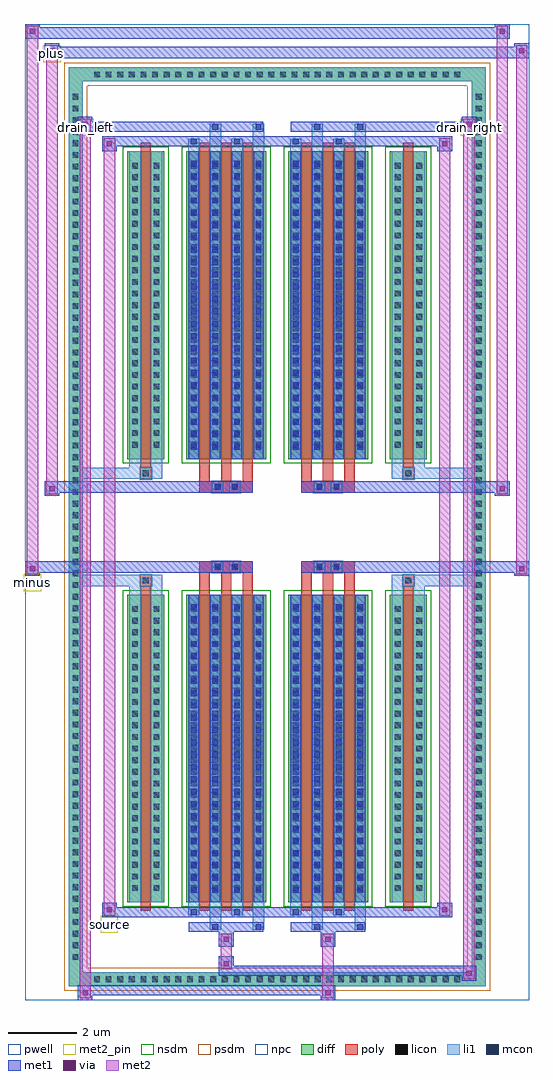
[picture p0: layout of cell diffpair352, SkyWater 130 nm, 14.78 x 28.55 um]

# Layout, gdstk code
import gdstk
lib = gdstk.Library(unit=1e-6, precision=5e-09)
def R(c, l, rs):  # rectangles x0, y0, x1, y1
    for r in rs: c.add(gdstk.rectangle(r[:2], r[2:], *l))
def A(c, l, x, y, w, h, nx, ny, dx, dy):  # array of equal rectangles
    R(c, l, [(x+i*dx, y+j*dy, x+i*dx+w, y+j*dy+h) for i in range(nx) for j in range(ny)])
def P(c, l, *ps):  # polygons
    for p in ps: c.add(gdstk.Polygon(p, *l))
pwell = (64, 44)
diff = (65, 20)
poly = (66, 20)
licon = (66, 44)
li1 = (67, 20)
mcon = (67, 44)
met1 = (68, 20)
via = (68, 44)
met2_pin = (69, 16)
met2 = (69, 20)
nsdm = (93, 44)
psdm = (94, 20)
npc = (95, 20)

diffpair352 = lib.new_cell('diffpair352')
R(diffpair352, pwell, [(-7.37,-13.84,7.37,14.71), (-4.69,-12.03,-0.01,-0.805), (0.01,-12.03,4.69,-0.805), (-4.69,0.805,-0.01,12.03), (0.01,0.805,4.69,12.03)])
A(diffpair352, diff, -5.475, -13.44, 0.41, 0.41, 32, 2, 0.34, 26.47)
A(diffpair352, diff, -6.1, -12.785, 0.41, 0.41, 1, 75, 0, 0.34)
A(diffpair352, diff, 5.69, -12.785, 0.41, 0.41, 1, 75, 0, 0.34)
R(diffpair352, diff, [(-5.475,-13.44,5.475,-13.03), (-6.1,-12.785,-5.69,12.785), (5.69,-12.785,6.1,12.785), (-4.38,-10.985,-3.3,-1.985), (-2.66,-10.985,-0.32,-1.985), (0.32,-10.985,2.66,-1.985), (3.3,-10.985,4.38,-1.985), (-4.38,1.985,-3.3,10.985), (-2.66,1.985,-0.32,10.985), (0.32,1.985,2.66,10.985), (3.3,1.985,4.38,10.985), (-5.475,13.03,5.475,13.44)])
P(diffpair352, diff, [(6.1,13.44),(-6.1,13.44),(-6.1,-13.03),(-5.69,-13.03),(-5.69,13.03),(5.69,13.03),(5.69,-13.03),(-5.69,-13.03),(-6.1,-13.03),(-6.1,-13.44),(6.1,-13.44)])
A(diffpair352, poly, -2.27, -11.235, 0.3, 9.5, 3, 2, 0.63, 12.97)
A(diffpair352, poly, 0.71, -11.235, 0.3, 9.5, 3, 2, 0.63, 12.97)
A(diffpair352, poly, -2.27, -1.735, 0.3, 0.4, 3, 2, 0.63, 3.07)
A(diffpair352, poly, 0.71, -1.735, 0.3, 0.4, 3, 2, 0.63, 3.07)
R(diffpair352, poly, [(-3.99,-11.235,-3.69,-1.735), (3.69,-11.235,3.99,-1.735), (-4.005,-1.735,-3.675,-1.405), (-4.005,-1.735,-3.675,-1.405), (3.675,-1.735,4.005,-1.405), (3.675,-1.735,4.005,-1.405), (-2.27,-1.335,-0.71,-1.005), (-1.905,-1.335,-1.575,-1.005), (-1.405,-1.335,-1.075,-1.005), (0.71,-1.335,2.27,-1.005), (1.075,-1.335,1.405,-1.005), (1.575,-1.335,1.905,-1.005), (-2.27,1.005,-0.71,1.335), (-1.905,1.005,-1.575,1.335), (-1.405,1.005,-1.075,1.335), (0.71,1.005,2.27,1.335), (1.075,1.005,1.405,1.335), (1.575,1.005,1.905,1.335), (-4.005,1.405,-3.675,1.735), (-4.005,1.405,-3.675,1.735), (3.675,1.405,4.005,1.735), (3.675,1.405,4.005,1.735), (-3.99,1.735,-3.69,11.235), (3.69,1.735,3.99,11.235)])
A(diffpair352, licon, -5.355, -13.32, 0.17, 0.17, 32, 2, 0.34, 26.47)
A(diffpair352, licon, -5.98, -12.665, 0.17, 0.17, 1, 75, 0, 0.34)
A(diffpair352, licon, 5.81, -12.665, 0.17, 0.17, 1, 75, 0, 0.34)
A(diffpair352, licon, -4.24, -10.65, 0.17, 0.17, 1, 25, 0, 0.34)
A(diffpair352, licon, -3.61, -10.65, 0.17, 0.17, 1, 25, 0, 0.34)
A(diffpair352, licon, -2.52, -10.65, 0.17, 0.17, 4, 25, 0.63, 0.34)
A(diffpair352, licon, 0.46, -10.65, 0.17, 0.17, 4, 25, 0.63, 0.34)
A(diffpair352, licon, 3.44, -10.65, 0.17, 0.17, 1, 25, 0, 0.34)
A(diffpair352, licon, 4.07, -10.65, 0.17, 0.17, 1, 25, 0, 0.34)
A(diffpair352, licon, -4.24, 2.32, 0.17, 0.17, 1, 25, 0, 0.34)
A(diffpair352, licon, -3.61, 2.32, 0.17, 0.17, 1, 25, 0, 0.34)
A(diffpair352, licon, -2.52, 2.32, 0.17, 0.17, 4, 25, 0.63, 0.34)
A(diffpair352, licon, 0.46, 2.32, 0.17, 0.17, 4, 25, 0.63, 0.34)
A(diffpair352, licon, 3.44, 2.32, 0.17, 0.17, 1, 25, 0, 0.34)
A(diffpair352, licon, 4.07, 2.32, 0.17, 0.17, 1, 25, 0, 0.34)
R(diffpair352, licon, [(-3.925,-1.655,-3.755,-1.485), (3.755,-1.655,3.925,-1.485), (-1.825,-1.255,-1.655,-1.085), (-1.325,-1.255,-1.155,-1.085), (1.155,-1.255,1.325,-1.085), (1.655,-1.255,1.825,-1.085), (-1.825,1.085,-1.655,1.255), (-1.325,1.085,-1.155,1.255), (1.155,1.085,1.325,1.255), (1.655,1.085,1.825,1.255), (-3.925,1.485,-3.755,1.655), (3.755,1.485,3.925,1.655)])
A(diffpair352, li1, -5.435, -13.4, 0.33, 0.33, 32, 2, 0.34, 26.47)
A(diffpair352, li1, -6.06, -12.745, 0.33, 0.33, 1, 75, 0, 0.34)
A(diffpair352, li1, 5.73, -12.745, 0.33, 0.33, 1, 75, 0, 0.34)
A(diffpair352, li1, -2.6, -10.985, 0.33, 9, 4, 2, 0.63, 12.97)
A(diffpair352, li1, 0.38, -10.985, 0.33, 9, 4, 2, 0.63, 12.97)
A(diffpair352, li1, -4.32, -10.73, 0.33, 0.33, 1, 25, 0, 0.34)
A(diffpair352, li1, -3.69, -10.73, 0.33, 0.33, 1, 25, 0, 0.34)
A(diffpair352, li1, -2.6, -10.73, 0.33, 0.33, 4, 25, 0.63, 0.34)
A(diffpair352, li1, 0.38, -10.73, 0.33, 0.33, 4, 25, 0.63, 0.34)
A(diffpair352, li1, 3.36, -10.73, 0.33, 0.33, 1, 25, 0, 0.34)
A(diffpair352, li1, 3.99, -10.73, 0.33, 0.33, 1, 25, 0, 0.34)
A(diffpair352, li1, -2.52, -10.71, 0.17, 0.17, 4, 24, 0.63, 0.36)
A(diffpair352, li1, -2.52, -10.71, 0.17, 8.45, 4, 2, 0.63, 12.97)
A(diffpair352, li1, 0.46, -10.71, 0.17, 0.17, 4, 24, 0.63, 0.36)
A(diffpair352, li1, 0.46, -10.71, 0.17, 8.45, 4, 2, 0.63, 12.97)
A(diffpair352, li1, -4.32, 2.24, 0.33, 0.33, 1, 25, 0, 0.34)
A(diffpair352, li1, -3.69, 2.24, 0.33, 0.33, 1, 25, 0, 0.34)
A(diffpair352, li1, -2.6, 2.24, 0.33, 0.33, 4, 25, 0.63, 0.34)
A(diffpair352, li1, 0.38, 2.24, 0.33, 0.33, 4, 25, 0.63, 0.34)
A(diffpair352, li1, 3.36, 2.24, 0.33, 0.33, 1, 25, 0, 0.34)
A(diffpair352, li1, 3.99, 2.24, 0.33, 0.33, 1, 25, 0, 0.34)
A(diffpair352, li1, -2.52, 2.26, 0.17, 0.17, 4, 24, 0.63, 0.36)
A(diffpair352, li1, 0.46, 2.26, 0.17, 0.17, 4, 24, 0.63, 0.36)
R(diffpair352, li1, [(-6.1,-13.44,-5.69,-13.03), (-6.1,-13.44,-5.69,-13.03), (-5.69,-13.44,5.69,-13.03), (5.69,-13.44,6.1,-13.03), (5.69,-13.44,6.1,-13.03), (-6.1,-13.03,-5.69,13.03), (5.69,-13.03,6.1,13.03), (-1.97,-11.79,-1.64,-10.985), (-1.89,-11.79,-1.72,-11.62), (-0.71,-11.79,-0.38,-10.985), (-0.63,-11.79,-0.46,-11.62), (1.01,-11.79,1.34,-10.985), (1.09,-11.79,1.26,-11.62), (2.27,-11.79,2.6,-10.985), (2.35,-11.79,2.52,-11.62), (-2.6,-11.36,-2.27,-10.985), (-2.52,-11.36,-2.35,-11.19), (-1.34,-11.36,-1.01,-10.985), (-1.26,-11.36,-1.09,-11.19), (0.38,-11.36,0.71,-10.985), (0.46,-11.36,0.63,-11.19), (1.64,-11.36,1.97,-10.985), (1.72,-11.36,1.89,-11.19), (-4.32,-10.985,-3.99,-1.985), (-3.69,-10.985,-3.36,-1.985), (3.36,-10.985,3.69,-1.985), (3.99,-10.985,4.32,-1.985), (-4.32,-1.985,-3.99,-1.405), (-3.69,-1.985,-3.36,-1.405), (3.36,-1.985,3.69,-1.405), (3.99,-1.985,4.32,-1.405), (-6.1,-1.735,-4.005,-1.405), (-4.32,-1.735,-4.005,-1.405), (-4.005,-1.735,-3.675,-1.405), (-3.675,-1.735,-3.36,-1.405), (3.36,-1.735,3.675,-1.405), (3.675,-1.735,4.005,-1.405), (3.675,-1.735,6.1,-1.405), (4.005,-1.735,4.32,-1.405), (-1.905,-1.335,-1.575,-1.005), (-1.405,-1.335,-1.075,-1.005), (1.075,-1.335,1.405,-1.005), (1.575,-1.335,1.905,-1.005), (-1.905,1.005,-1.575,1.335), (-1.405,1.005,-1.075,1.335), (1.075,1.005,1.405,1.335), (1.575,1.005,1.905,1.335), (-6.1,1.405,-4.005,1.735), (-4.32,1.405,-4.005,1.735), (-4.32,1.405,-3.99,1.985), (-4.005,1.405,-3.675,1.735), (-3.69,1.405,-3.36,1.985), (-3.675,1.405,-3.36,1.735), (3.36,1.405,3.675,1.735), (3.36,1.405,3.69,1.985), (3.675,1.405,4.005,1.735), (3.675,1.405,6.1,1.735), (3.99,1.405,4.32,1.985), (4.005,1.405,4.32,1.735), (-4.32,1.985,-3.99,10.985), (-3.69,1.985,-3.36,10.985), (3.36,1.985,3.69,10.985), (3.99,1.985,4.32,10.985), (-2.6,10.985,-2.27,11.36), (-1.97,10.985,-1.64,11.79), (-1.34,10.985,-1.01,11.36), (-0.71,10.985,-0.38,11.79), (0.38,10.985,0.71,11.36), (1.01,10.985,1.34,11.79), (1.64,10.985,1.97,11.36), (2.27,10.985,2.6,11.79), (-2.52,11.19,-2.35,11.36), (-1.26,11.19,-1.09,11.36), (0.46,11.19,0.63,11.36), (1.72,11.19,1.89,11.36), (-1.89,11.62,-1.72,11.79), (-0.63,11.62,-0.46,11.79), (1.09,11.62,1.26,11.79), (2.35,11.62,2.52,11.79), (-6.1,13.03,-5.69,13.44), (-6.1,13.03,-5.69,13.44), (-5.69,13.03,5.69,13.44), (5.69,13.03,6.1,13.44), (5.69,13.03,6.1,13.44)])
A(diffpair352, mcon, -2.52, -10.71, 0.17, 0.17, 4, 24, 0.63, 0.36)
A(diffpair352, mcon, 0.46, -10.71, 0.17, 0.17, 4, 24, 0.63, 0.36)
A(diffpair352, mcon, -2.52, 2.26, 0.17, 0.17, 4, 24, 0.63, 0.36)
A(diffpair352, mcon, 0.46, 2.26, 0.17, 0.17, 4, 24, 0.63, 0.36)
R(diffpair352, mcon, [(-1.89,-11.79,-1.72,-11.62), (-0.63,-11.79,-0.46,-11.62), (1.09,-11.79,1.26,-11.62), (2.35,-11.79,2.52,-11.62), (-2.52,-11.36,-2.35,-11.19), (-1.26,-11.36,-1.09,-11.19), (0.46,-11.36,0.63,-11.19), (1.72,-11.36,1.89,-11.19), (-1.825,-1.255,-1.655,-1.085), (-1.325,-1.255,-1.155,-1.085), (1.155,-1.255,1.325,-1.085), (1.655,-1.255,1.825,-1.085), (-1.825,1.085,-1.655,1.255), (-1.325,1.085,-1.155,1.255), (1.155,1.085,1.325,1.255), (1.655,1.085,1.825,1.255), (-2.52,11.19,-2.35,11.36), (-1.26,11.19,-1.09,11.36), (0.46,11.19,0.63,11.36), (1.72,11.19,1.89,11.36), (-1.89,11.62,-1.72,11.79), (-0.63,11.62,-0.46,11.79), (1.09,11.62,1.26,11.79), (2.35,11.62,2.52,11.79)])
A(diffpair352, met1, -2.58, -10.985, 0.29, 9, 4, 2, 0.63, 12.97)
A(diffpair352, met1, 0.4, -10.985, 0.29, 9, 4, 2, 0.63, 12.97)
A(diffpair352, met1, -2.58, -10.77, 0.29, 0.29, 4, 24, 0.63, 0.36)
A(diffpair352, met1, 0.4, -10.77, 0.29, 0.29, 4, 24, 0.63, 0.36)
A(diffpair352, met1, -2.58, 2.2, 0.29, 0.29, 4, 24, 0.63, 0.36)
A(diffpair352, met1, 0.4, 2.2, 0.29, 0.29, 4, 24, 0.63, 0.36)
R(diffpair352, met1, [(-5.83,-13.84,-5.4,-13.41), (1.275,-13.84,1.705,-13.41), (-5.83,-13.7,1.705,-13.41), (5.4,-13.27,5.83,-12.84), (-1.705,-13.13,5.83,-12.84), (-1.705,-12.99,-1.275,-12.56), (-1.705,-12.28,-1.275,-11.85), (1.275,-12.28,1.705,-11.85), (-2.58,-11.85,-0.4,-11.56), (-1.95,-11.85,-1.66,-11.56), (-0.69,-11.85,-0.4,-11.56), (0.4,-11.85,2.58,-11.56), (1.03,-11.85,1.32,-11.56), (2.29,-11.85,2.58,-11.56), (-5.12,-11.42,-4.69,-10.99), (-5.12,-11.42,-2.58,-11.13), (-2.58,-11.42,-2.29,-11.13), (-2.58,-11.42,-0.4,-11.13), (-1.32,-11.42,-1.03,-11.13), (-0.4,-11.42,0.4,-11.13), (0.4,-11.42,0.69,-11.13), (0.4,-11.42,2.58,-11.13), (1.66,-11.42,1.95,-11.13), (2.58,-11.42,5.12,-11.13), (4.69,-11.42,5.12,-10.99), (-7.37,-1.435,-6.94,-1.005), (6.94,-1.435,7.37,-1.005), (-7.37,-1.335,-0.71,-1.005), (-2.27,-1.335,-0.71,-1.005), (0.71,-1.335,2.27,-1.005), (0.71,-1.335,7.37,-1.005), (-1.885,-1.315,-1.595,-1.025), (-1.385,-1.315,-1.095,-1.025), (1.095,-1.315,1.385,-1.025), (1.595,-1.315,1.885,-1.025), (-6.8,0.905,-6.37,1.335), (6.37,0.905,6.8,1.335), (-6.8,1.005,-2.27,1.335), (-2.27,1.005,-0.71,1.335), (0.71,1.005,2.27,1.335), (2.27,1.005,6.8,1.335), (-1.885,1.025,-1.595,1.315), (-1.385,1.025,-1.095,1.315), (1.095,1.025,1.385,1.315), (1.595,1.025,1.885,1.315), (-5.12,10.99,-4.69,11.42), (4.69,10.99,5.12,11.42), (-5.12,11.13,-2.58,11.42), (-2.58,11.13,-2.29,11.42), (-2.58,11.13,-0.4,11.42), (-1.32,11.13,-1.03,11.42), (-0.4,11.13,0.4,11.42), (0.4,11.13,0.69,11.42), (0.4,11.13,2.58,11.42), (1.66,11.13,1.95,11.42), (2.58,11.13,5.12,11.42), (-5.83,11.56,-5.4,11.99), (-5.83,11.56,-2.58,11.85), (-2.58,11.56,-0.4,11.85), (-1.95,11.56,-1.66,11.85), (-0.69,11.56,-0.4,11.85), (0.4,11.56,2.58,11.85), (1.03,11.56,1.32,11.85), (2.29,11.56,2.58,11.85), (2.58,11.56,5.83,11.85), (5.4,11.56,5.83,11.99), (-6.8,13.71,-6.37,14.14), (-6.8,13.71,-4.69,14.04), (-4.69,13.71,4.69,14.04), (4.69,13.71,7.37,14.04), (6.94,13.71,7.37,14.14), (-7.37,14.28,-6.94,14.71), (-7.37,14.28,-4.69,14.61), (-4.69,14.28,4.69,14.61), (4.69,14.28,6.8,14.61), (6.37,14.28,6.8,14.71)])
R(diffpair352, via, [(-5.69,-13.7,-5.54,-13.55), (1.415,-13.7,1.565,-13.55), (5.54,-13.13,5.69,-12.98), (-1.565,-12.85,-1.415,-12.7), (-1.565,-12.14,-1.415,-11.99), (1.415,-12.14,1.565,-11.99), (-4.98,-11.28,-4.83,-11.13), (4.83,-11.28,4.98,-11.13), (-7.23,-1.295,-7.08,-1.145), (7.08,-1.295,7.23,-1.145), (-6.66,1.045,-6.51,1.195), (6.51,1.045,6.66,1.195), (-4.98,11.13,-4.83,11.28), (4.83,11.13,4.98,11.28), (-5.69,11.7,-5.54,11.85), (5.54,11.7,5.69,11.85), (-6.66,13.85,-6.51,14), (7.08,13.85,7.23,14), (-7.23,14.42,-7.08,14.57), (6.51,14.42,6.66,14.57)])
R(diffpair352, met2_pin, [(-5.155,-11.87,-4.655,-11.37), (-7.405,-1.885,-6.905,-1.385), (-5.865,11.44,-5.365,11.94), (5.365,11.44,5.865,11.94), (-6.835,13.59,-6.335,14.09)])
R(diffpair352, met2, [(-5.78,-13.79,-5.45,-13.46), (-5.78,-13.79,-5.45,11.94), (1.325,-13.79,1.655,-13.46), (1.325,-13.46,1.655,-12.23), (5.45,-13.22,5.78,-12.89), (5.45,-13.22,5.78,11.94), (-1.655,-12.94,-1.325,-12.61), (-1.655,-12.61,-1.325,-12.23), (-1.655,-12.23,-1.325,-11.9), (1.325,-12.23,1.655,-11.9), (-5.07,-11.37,-4.74,-11.04), (-5.07,-11.37,-4.74,11.37), (4.74,-11.37,5.07,-11.04), (4.74,-11.37,5.07,11.37), (-7.32,-1.385,-6.99,-1.055), (-7.32,-1.385,-6.99,14.66), (6.99,-1.385,7.32,-1.055), (6.99,-1.385,7.32,14.09), (-6.75,0.955,-6.42,1.285), (-6.75,0.955,-6.42,14.09), (6.42,0.955,6.75,1.285), (6.42,0.955,6.75,14.66), (-5.07,11.04,-4.74,11.37), (4.74,11.04,5.07,11.37), (-5.78,11.61,-5.45,11.94), (5.45,11.61,5.78,11.94), (-6.75,13.76,-6.42,14.09), (6.99,13.76,7.32,14.09), (-7.32,14.33,-6.99,14.66), (6.42,14.33,6.75,14.66)])
P(diffpair352, met2, [(7.32,-1.385),(7.32,-1.385),(7.32,-1.055),(7.32,-1.055)],
  [(7.32,13.76),(7.32,13.76),(7.32,14.09),(7.32,14.09)],
  [(-6.99,-1.385),(-6.99,-1.385),(-6.99,-1.055),(-6.99,-1.055)],
  [(-6.99,14.33),(-6.99,14.33),(-6.99,14.66),(-6.99,14.66)],
  [(6.75,0.955),(6.75,0.955),(6.75,1.285),(6.75,1.285)],
  [(6.75,14.33),(6.75,14.33),(6.75,14.66),(6.75,14.66)],
  [(-6.42,0.955),(-6.42,0.955),(-6.42,1.285),(-6.42,1.285)],
  [(-6.42,13.76),(-6.42,13.76),(-6.42,14.09),(-6.42,14.09)],
  [(-5.45,-13.79),(-5.45,-13.79),(-5.45,-13.46),(-5.45,-13.46)],
  [(-5.45,11.61),(-5.45,11.61),(-5.45,11.94),(-5.45,11.94)],
  [(5.78,-13.22),(5.78,-13.22),(5.78,-12.89),(5.78,-12.89)],
  [(5.78,11.61),(5.78,11.61),(5.78,11.94),(5.78,11.94)],
  [(-4.74,-11.37),(-4.74,-11.37),(-4.74,-11.04),(-4.74,-11.04)],
  [(-4.74,11.04),(-4.74,11.04),(-4.74,11.37),(-4.74,11.37)],
  [(5.07,-11.37),(5.07,-11.37),(5.07,-11.04),(5.07,-11.04)],
  [(5.07,11.04),(5.07,11.04),(5.07,11.37),(5.07,11.37)])
R(diffpair352, nsdm, [(-4.51,-11.115,-3.17,-1.855), (-2.79,-11.115,-0.19,-1.855), (0.19,-11.115,2.79,-1.855), (3.17,-11.115,4.51,-1.855), (-4.51,1.855,-3.17,11.115), (-2.79,1.855,-0.19,11.115), (0.19,1.855,2.79,11.115), (3.17,1.855,4.51,11.115)])
P(diffpair352, psdm, [(6.23,13.57),(-6.23,13.57),(-6.23,-12.9),(-5.56,-12.9),(-5.56,12.9),(5.56,12.9),(5.56,-12.9),(-5.56,-12.9),(-6.23,-12.9),(-6.23,-13.57),(6.23,-13.57)])
R(diffpair352, npc, [(-4.025,-1.755,-3.655,-1.385), (3.655,-1.755,4.025,-1.385), (-1.925,-1.355,-1.555,-0.985), (-1.925,-1.355,-1.055,-0.985), (-1.925,-1.355,-1.055,-0.985), (-1.425,-1.355,-1.055,-0.985), (1.055,-1.355,1.425,-0.985), (1.055,-1.355,1.925,-0.985), (1.055,-1.355,1.925,-0.985), (1.555,-1.355,1.925,-0.985), (-1.925,0.985,-1.555,1.355), (-1.925,0.985,-1.055,1.355), (-1.925,0.985,-1.055,1.355), (-1.425,0.985,-1.055,1.355), (1.055,0.985,1.425,1.355), (1.055,0.985,1.925,1.355), (1.055,0.985,1.925,1.355), (1.555,0.985,1.925,1.355), (-4.025,1.385,-3.655,1.755), (3.655,1.385,4.025,1.755)])
diffpair352.add(gdstk.Label('minus', (-7.155,-1.635), layer=69, texttype=5))
diffpair352.add(gdstk.Label('drain_right', (5.615,11.69), layer=69, texttype=5))
diffpair352.add(gdstk.Label('drain_left', (-5.615,11.69), layer=69, texttype=5))
diffpair352.add(gdstk.Label('source', (-4.905,-11.62), layer=69, texttype=5))
diffpair352.add(gdstk.Label('plus', (-6.585,13.84), layer=69, texttype=5))

lib.write_gds('diffpair352.gds')
